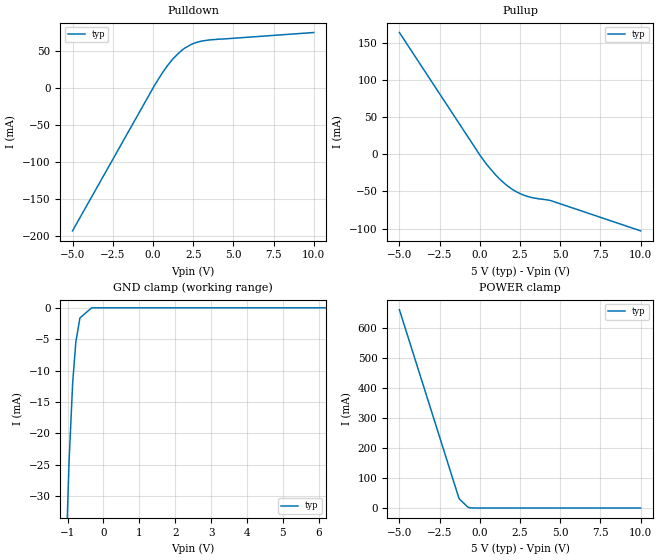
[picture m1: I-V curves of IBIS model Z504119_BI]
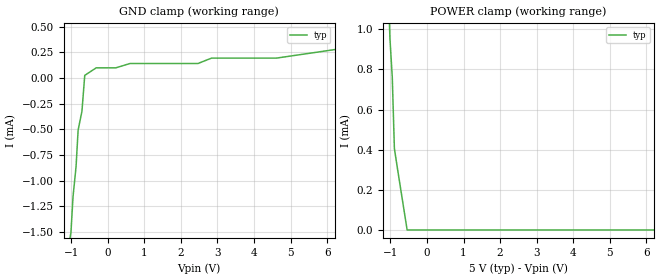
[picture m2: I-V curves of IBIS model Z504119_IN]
| YOU ARE ONLY AUTHORIZED TO USE THIS SOFTWARE
| ACCORDING TO LICENSOR'S LICENSE RESTRICTIONS.
[IBIS Ver] 3.1
[File Name] mc54hc643j.ibs
[File Rev] 2.0
[Source] Measured and created by ICX Technology
[Date] Friday 7/14/00 9:08:07 AM
[Copyright]
| (C) COPYRIGHT 1993-2000
| MENTOR GRAPHICS CORPORATION
| ICX STANDARD LIBRARY, ICX PROJECT MODELING,
| ICX CUSTOM MODELING, ICX VENDOR MODEL
| ALL RIGHTS RESERVED.
| THE FOLLOWING ARE TRADEMARKS OR SERVICE MARKS OF
| MENTOR GRAPHICS CORPORATION:ICX (R), ICX STANDARD
| LIBRARY(R), ICX PROJECT MODELING(R), ICX CUSTOM
| MODELING(R), qualityIBIS(TM), MODELVIEWER(TM),
| AND MODELEDITOR(TM)
| ALL COPIES OF SOFTWARE, INCLUDING BUT NOT LIMITED TO
| ANY MODIFICATIONS, ENHANCEMENTS OR DERIVATIVE WORKS,
| MUST CONTAIN ALL MENTOR GRAPHICS CORPORATION'S
| NOTICES AND LEGENDS, INCLUDING THOSE EMBEDDED IN
| SOFTWARE AND THOSE AFFIXED TO SOFTWARE MEDIUM
| AND CONTAINER, AS RECEIVED FROM MENTOR GRAPHICS
| CORPORATION.
|  ZAP Model Builder 2.7
[Component] MC54HC643J
[Manufacturer] OnSemiconductor
[Package]
| variable   typ   min   max
R_pkg  .216ohms NA NA
L_pkg  5.76nH NA NA
C_pkg  2.193pF NA NA
[Pin] signal_name  model_name  R_pin  L_pin C_pin
1 DIR Z504119_IN .232 9.76n 3.179p
2 A0 Z504119_BI .224 7.26n 2.686p
3 A1 Z504119_BI .216 5.26n 2.193p
4 A2 Z504119_BI .208 3.76n 1.7p
5 A3 Z504119_BI .2 2.76n 1.207p
6 A4 Z504119_BI .2 2.76n 1.207p
7 A5 Z504119_BI .208 3.76n 1.7p
8 A6 Z504119_BI .216 5.26n 2.193p
9 A7 Z504119_BI .224 7.26n 2.686p
10 GND GND .232 9.76n 3.179p
11 B7 Z504119_BI .232 9.76n 3.179p
12 B6 Z504119_BI .224 7.26n 2.686p
13 B5 Z504119_BI .216 5.26n 2.193p
14 B4 Z504119_BI .208 3.76n 1.7p
15 B3 Z504119_BI .2 2.76n 1.207p
16 B2 Z504119_BI .2 2.76n 1.207p
17 B1 Z504119_BI .208 3.76n 1.7p
18 B0 Z504119_BI .216 5.26n 2.193p
19 _G Z504119_IN .224 7.26n 2.686p
20 VCC POWER .232 9.76n 3.179p
| Models and submodels in the file (2): Z504119_BI (I/O), Z504119_IN (Input)
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| (C) COPYRIGHT 1993-2000
| MENTOR GRAPHICS CORPORATION
| ICX STANDARD LIBRARY, ICX PROJECT MODELING,
| ICX CUSTOM MODELING, ICX VENDOR MODEL
| ALL RIGHTS RESERVED.
| THE FOLLOWING ARE TRADEMARKS OR SERVICE MARKS OF
| MENTOR GRAPHICS CORPORATION:ICX (R), ICX STANDARD
| LIBRARY(R), ICX PROJECT MODELING(R), ICX CUSTOM
| MODELING(R), qualityIBIS(TM), MODELVIEWER(TM),
| AND MODELEDITOR(TM)
| ALL COPIES OF SOFTWARE, INCLUDING BUT NOT LIMITED TO
| ANY MODIFICATIONS, ENHANCEMENTS OR DERIVATIVE WORKS,
| MUST CONTAIN ALL MENTOR GRAPHICS CORPORATION'S
| NOTICES AND LEGENDS, INCLUDING THOSE EMBEDDED IN
| SOFTWARE AND THOSE AFFIXED TO SOFTWARE MEDIUM
| AND CONTAINER, AS RECEIVED FROM MENTOR GRAPHICS
| CORPORATION.
| Model Application Version 1.89 2/18/99.
[Model] Z504119_BI
Model_type I/O
Vinl=1.000V
Vinh=3.500V
Vref=0.000V
Rref=500.0Mohms
Cref=50.00pF
Vmeas=2.500V
C_comp 8.000pF NA NA
| variable typ   min   max
[Voltage Range] 5.000V NA NA
[POWER Clamp Reference] 5.000V NA NA
[Pullup Reference] 5.000V NA NA
[Pulldown Reference] 0.000V NA NA
[GND Clamp Reference] 0.000V NA NA
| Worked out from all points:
|   slope of the pulldown table from 0 to 0.75 V, typ, clamps not added: 29.2 ohm
|   slope of the pullup table from 0 to 0.75 V, typ, clamps not added: 35.8 ohm
|   POWER clamp passes 1 mA (typ) near -0.62 V on its own axis
[GND Clamp]
-5V       -773.8mA   NA         NA
-961.8mV  -24.79mA   NA         NA
-859.2mV  -12mA      NA         NA
-771.5mV  -5.484mA   NA         NA
-658.6mV  -1.628mA   NA         NA
-329.3mV  0A         NA         NA
10V       0A         NA         NA
[Pulldown]
-5V       -192.4mA   NA         NA
102.5mV   3.962mA    NA         NA
908.4mV   30.61mA    NA         NA
1.26V     39.98mA    NA         NA
1.826V    51.59mA    NA         NA
2.534V    60.44mA    NA         NA
3.43V     64.93mA    NA         NA
10V       75.18mA    NA         NA
[Pullup]
-5V       163.7mA    NA         NA
40mV      -2.21mA    NA         NA
410mV     -13.1mA    NA         NA
973mV     -27.54mA   NA         NA
1.616V    -40.67mA   NA         NA
2.265V    -50.26mA   NA         NA
2.934V    -56.38mA   NA         NA
4.365V    -61.91mA   NA         NA
10V       -102.9mA   NA         NA
[POWER Clamp]
-5V       662mA      NA         NA
-1.307V   34.3mA     NA         NA
-1.255V   29.05mA    NA         NA
-723mV    2.169mA    NA         NA
-576mV    547.2uA    NA         NA
-288mV    0A         NA         NA
10V       0A         NA         NA
[Ramp]
| variable typ min max
dV/dt_r 2.829/2.527n NA NA
dV/dt_f 2.829/2.631n NA NA
R_load = 500.0Ohms
| (C) COPYRIGHT 1993-2000
| MENTOR GRAPHICS CORPORATION
| ICX STANDARD LIBRARY, ICX PROJECT MODELING,
| ICX CUSTOM MODELING, ICX VENDOR MODEL
| ALL RIGHTS RESERVED.
| THE FOLLOWING ARE TRADEMARKS OR SERVICE MARKS OF
| MENTOR GRAPHICS CORPORATION:ICX (R), ICX STANDARD
| LIBRARY(R), ICX PROJECT MODELING(R), ICX CUSTOM
| MODELING(R), qualityIBIS(TM), MODELVIEWER(TM),
| AND MODELEDITOR(TM)
| ALL COPIES OF SOFTWARE, INCLUDING BUT NOT LIMITED TO
| ANY MODIFICATIONS, ENHANCEMENTS OR DERIVATIVE WORKS,
| MUST CONTAIN ALL MENTOR GRAPHICS CORPORATION'S
| NOTICES AND LEGENDS, INCLUDING THOSE EMBEDDED IN
| SOFTWARE AND THOSE AFFIXED TO SOFTWARE MEDIUM
| AND CONTAINER, AS RECEIVED FROM MENTOR GRAPHICS
| CORPORATION.
| Model Application Version 1.89 2/18/99.
[Model] Z504119_IN
Model_type Input
Vinl = 1.000V
Vinh = 3.500V
C_comp 4.000pF NA NA
| variable typ   min   max
[Voltage Range] 5.000V NA NA
[GND Clamp Reference] 0.000V NA NA
[POWER Clamp Reference] 5.000V NA NA
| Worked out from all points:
|   GND clamp passes 1 mA (typ) near -0.90 V on its own axis
|   POWER clamp passes 1 mA (typ) near -1.02 V on its own axis
[GND Clamp]
-5V       -13.08mA   NA         NA
-1.006V   -1.509mA   NA         NA
-947.5mV  -1.153mA   NA         NA
-865.7mV  -864.6uA   NA         NA
-809.1mV  -507.8uA   NA         NA
-705.3mV  -326.4uA   NA         NA
-628.2mV  24.48uA    NA         NA
-314.1mV  98.18uA    NA         NA
2.466V    140.2uA    NA         NA
2.837V    192.8uA    NA         NA
4.611V    192.8uA    NA         NA
10V       473.6uA    NA         NA
[POWER Clamp]
-5V       28.23mA    NA         NA
-1.089V   1.391mA    NA         NA
-1.011V   955.2uA    NA         NA
-947mV    762.6uA    NA         NA
-889mV    406.3uA    NA         NA
-540.7mV  0A         NA         NA
10V       0A         NA         NA
